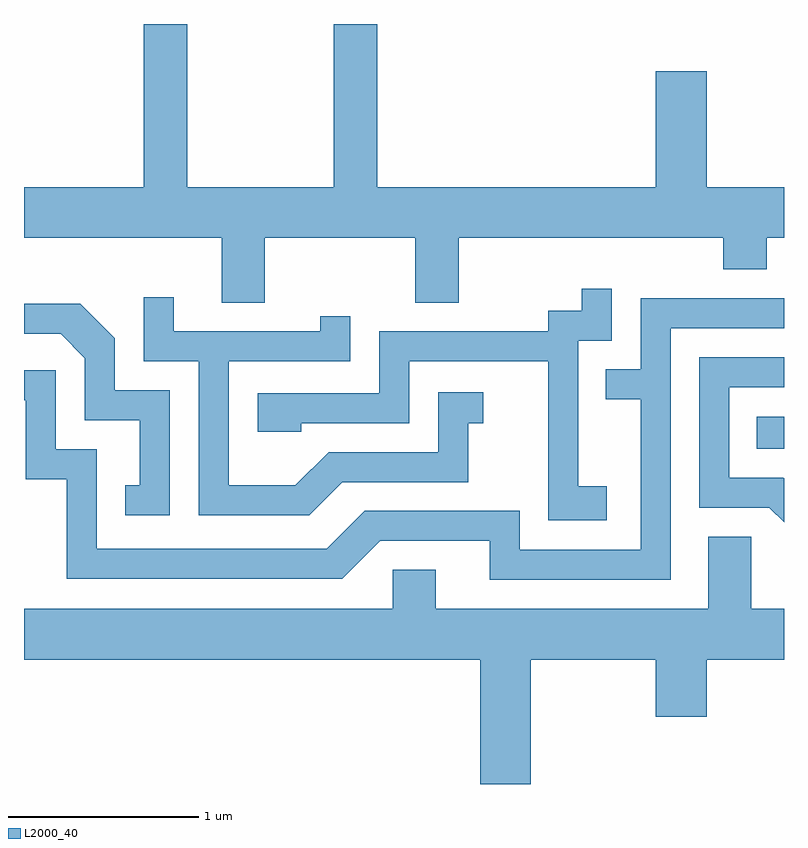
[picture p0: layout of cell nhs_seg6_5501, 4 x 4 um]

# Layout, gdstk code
import gdstk
lib = gdstk.Library(unit=1e-6, precision=1e-09)
def R(c, l, rs):  # rectangles x0, y0, x1, y1
    for r in rs: c.add(gdstk.rectangle(r[:2], r[2:], *l))
def P(c, l, *ps):  # polygons
    for p in ps: c.add(gdstk.Polygon(p, *l))
L2000_40 = (2000, 40)

nhs_seg6_5501 = lib.new_cell('nhs_seg6_5501')
R(nhs_seg6_5501, L2000_40, [(355.468,1659.926,355.611,1660.094)])
P(nhs_seg6_5501, L2000_40, [(352.879,1661.036),(353.671,1661.036),(353.671,1660.696),(353.899,1660.696),(353.899,1661.036),(355.291,1661.036),(355.291,1660.871),(355.519,1660.871),(355.519,1661.036),(355.611,1661.036),(355.611,1661.304),(355.204,1661.304),(355.204,1661.914),(354.936,1661.914),(354.936,1661.304),(353.469,1661.304),(353.469,1662.162),(353.241,1662.162),(353.241,1661.304),(352.469,1661.304),(352.469,1662.162),(352.241,1662.162),(352.241,1661.304),(351.611,1661.304),(351.611,1661.036),(352.651,1661.036),(352.651,1660.696),(352.879,1660.696)],
  [(354.679,1659.729),(354.529,1659.729),(354.529,1660.496),(354.704,1660.496),(354.704,1660.768),(354.546,1660.768),(354.546,1660.654),(354.371,1660.654),(354.371,1660.544),(353.481,1660.544),(353.481,1660.219),(352.841,1660.219),(352.841,1660.016),(353.069,1660.016),(353.069,1660.061),(353.639,1660.061),(353.639,1660.386),(354.371,1660.386),(354.371,1659.551),(354.679,1659.551)],
  [(353.287,1659.751),(353.949,1659.751),(353.949,1660.061),(354.028,1660.061),(354.028,1660.224),(353.791,1660.224),(353.791,1659.909),(353.214,1659.909),(353.039,1659.734),(352.689,1659.734),(352.689,1660.386),(353.329,1660.386),(353.329,1660.623),(353.171,1660.623),(353.171,1660.544),(352.399,1660.544),(352.399,1660.723),(352.241,1660.723),(352.241,1660.386),(352.531,1660.386),(352.531,1659.576),(353.112,1659.576)],
  [(355.014,1660.561),(355.611,1660.561),(355.611,1660.719),(354.856,1660.719),(354.856,1660.344),(354.673,1660.344),(354.673,1660.186),(354.856,1660.186),(354.856,1659.394),(354.219,1659.394),(354.219,1659.599),(353.404,1659.599),(353.204,1659.399),(351.994,1659.399),(351.994,1659.924),(351.779,1659.924),(351.779,1660.339),(351.611,1660.339),(351.611,1660.181),(351.621,1660.181),(351.621,1659.766),(351.836,1659.766),(351.836,1659.241),(353.287,1659.241),(353.487,1659.441),(354.061,1659.441),(354.061,1659.236),(355.014,1659.236)],
  [(352.379,1660.234),(352.089,1660.234),(352.089,1660.507),(351.907,1660.689),(351.611,1660.689),(351.611,1660.531),(351.804,1660.531),(351.931,1660.404),(351.931,1660.076),(352.221,1660.076),(352.221,1659.734),(352.143,1659.734),(352.143,1659.576),(352.379,1659.576)],
  [(355.611,1659.77),(355.607,1659.774),(355.324,1659.774),(355.324,1660.251),(355.611,1660.251),(355.611,1660.409),(355.166,1660.409),(355.166,1659.616),(355.534,1659.616),(355.611,1659.539)],
  [(354.011,1658.162),(354.279,1658.162),(354.279,1658.816),(354.936,1658.816),(354.936,1658.516),(355.204,1658.516),(355.204,1658.816),(355.611,1658.816),(355.611,1659.084),(355.439,1659.084),(355.439,1659.464),(355.211,1659.464),(355.211,1659.084),(353.779,1659.084),(353.779,1659.289),(353.551,1659.289),(353.551,1659.084),(351.611,1659.084),(351.611,1658.816),(354.011,1658.816)])

lib.write_gds('nhs_seg6_5501.gds')
